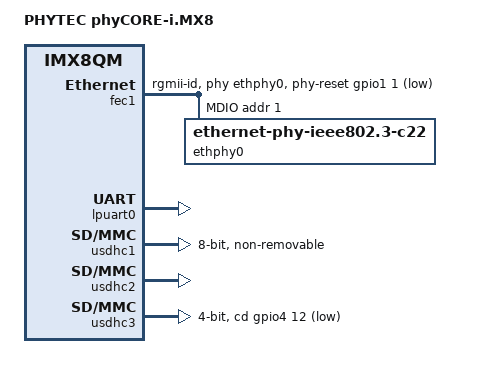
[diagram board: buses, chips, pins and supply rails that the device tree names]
/*
 * Copyright (C) 2017 PHYTEC Messtechnik GmbH,
 * Author: Christian Hemp c.hemp@phytec.de
 *
 * This program is free software; you can redistribute it and/or
 * modify it under the terms of the GNU General Public License
 * as published by the Free Software Foundation; either version 2
 * of the License, or (at your option) any later version.
 *
 * This program is distributed in the hope that it will be useful,
 * but WITHOUT ANY WARRANTY; without even the implied warranty of
 * MERCHANTABILITY or FITNESS FOR A PARTICULAR PURPOSE.  See the
 * GNU General Public License for more details.
 */

/dts-v1/;

#include "fsl-imx8qm.dtsi"
#include <dt-bindings/net/ti-dp83867.h>

/ {
	model = "PHYTEC phyCORE-i.MX8";
	compatible = "phytec,imx8qm-pcm064", "fsl,imx8qm";

	chosen {
		bootargs = "console=ttyLP0,115200 earlycon=lpuart32,0x5a060000,115200";
		stdout-path = &lpuart0;
	};
};

&fec1 {
	pinctrl-names = "default";
	pinctrl-0 = <&pinctrl_fec1>;
	phy-mode = "rgmii-id";
	phy-handle = <&ethphy0>;
	fsl,magic-packet;
	status = "okay";
	fsl,mii-exclusive;
	phy-reset-gpios = <&gpio1 1 GPIO_ACTIVE_LOW>;

	mdio@0 {
		#address-cells = <1>;
		#size-cells = <0>;

		ethphy0: ethernet-phy@1 {
			compatible = "ethernet-phy-ieee802.3-c22";
			reg = <1>;
			ti,rx-internal-delay = <DP83867_RGMIIDCTL_2_00_NS>;
			ti,tx-internal-delay = <DP83867_RGMIIDCTL_2_00_NS>;
			ti,fifo-depth = <DP83867_PHYCR_FIFO_DEPTH_8_B_NIB>;
			enet-phy-lane-no-swap;
		};
	};
};

&lpuart0 {
	pinctrl-names = "default";
	pinctrl-0 = <&pinctrl_lpuart0>;
	status = "okay";
};

&usdhc1 {
	pinctrl-names = "default", "state_100mhz", "state_200mhz";
	pinctrl-0 = <&pinctrl_usdhc1>;
	pinctrl-1 = <&pinctrl_usdhc1_100mhz>;
	pinctrl-2 = <&pinctrl_usdhc1_200mhz>;
	bus-width = <8>;
	non-removable;
	status = "okay";
};

&usdhc2 {
	pinctrl-names = "default";
	pinctrl-0 = <&pinctrl_usdhc2>;
	status = "okay";
};

&usdhc3 {
	pinctrl-names = "default", "state_100mhz", "state_200mhz";
	pinctrl-0 = <&pinctrl_usdhc3>, <&pinctrl_usdhc3_gpio>;
	pinctrl-1 = <&pinctrl_usdhc3_100mhz>, <&pinctrl_usdhc3_gpio>;
	pinctrl-2 = <&pinctrl_usdhc3_200mhz>, <&pinctrl_usdhc3_gpio>;
	bus-width = <4>;
	cd-gpios = <&gpio4 12 GPIO_ACTIVE_LOW>;
	no-1-8-v;
	status = "okay";

};

&iomuxc {
	imx8qm-pcm064 {
		pinctrl_fec1: fec1grp {
			fsl,pins = <
				SC_P_ENET0_MDC_CONN_ENET0_MDC			0x06000020
				SC_P_ENET0_MDIO_CONN_ENET0_MDIO			0x06000020
				SC_P_ENET0_RGMII_TX_CTL_CONN_ENET0_RGMII_TX_CTL	0x06000020
				SC_P_ENET0_RGMII_TXC_CONN_ENET0_RGMII_TXC	0x06000020
				SC_P_ENET0_RGMII_TXD0_CONN_ENET0_RGMII_TXD0	0x06000020
				SC_P_ENET0_RGMII_TXD1_CONN_ENET0_RGMII_TXD1	0x06000020
				SC_P_ENET0_RGMII_TXD2_CONN_ENET0_RGMII_TXD2	0x06000020
				SC_P_ENET0_RGMII_TXD3_CONN_ENET0_RGMII_TXD3	0x06000020
				SC_P_ENET0_RGMII_RXC_CONN_ENET0_RGMII_RXC	0x06000020
				SC_P_ENET0_RGMII_RX_CTL_CONN_ENET0_RGMII_RX_CTL	0x06000020
				SC_P_ENET0_RGMII_RXD0_CONN_ENET0_RGMII_RXD0	0x06000060
				SC_P_ENET0_RGMII_RXD1_CONN_ENET0_RGMII_RXD1	0x06000060
				SC_P_ENET0_RGMII_RXD2_CONN_ENET0_RGMII_RXD2	0x06000060
				SC_P_ENET0_RGMII_RXD3_CONN_ENET0_RGMII_RXD3	0x06000060
				SC_P_SCU_GPIO0_05_LSIO_GPIO1_IO01		0x00000021
			>;
		};

		pinctrl_lpuart0: lpuart0grp {
			fsl,pins = <
				SC_P_UART0_RX_DMA_UART0_RX		0x0600004c
				SC_P_UART0_TX_DMA_UART0_TX		0x0600004c
			>;
		};

		pinctrl_usdhc1: usdhc1grp {
			fsl,pins = <
				SC_P_EMMC0_CLK_CONN_EMMC0_CLK		0x06000041
				SC_P_EMMC0_CMD_CONN_EMMC0_CMD		0x00000021
				SC_P_EMMC0_DATA0_CONN_EMMC0_DATA0	0x00000021
				SC_P_EMMC0_DATA1_CONN_EMMC0_DATA1	0x00000021
				SC_P_EMMC0_DATA2_CONN_EMMC0_DATA2	0x00000021
				SC_P_EMMC0_DATA3_CONN_EMMC0_DATA3	0x00000021
				SC_P_EMMC0_DATA4_CONN_EMMC0_DATA4	0x00000021
				SC_P_EMMC0_DATA5_CONN_EMMC0_DATA5	0x00000021
				SC_P_EMMC0_DATA6_CONN_EMMC0_DATA6	0x00000021
				SC_P_EMMC0_DATA7_CONN_EMMC0_DATA7	0x00000021
				SC_P_EMMC0_STROBE_CONN_EMMC0_STROBE	0x06000041
				SC_P_EMMC0_RESET_B_CONN_EMMC0_RESET_B	0x00000021
			>;
		};

		pinctrl_usdhc1_100mhz: usdhc1grp100mhz {
			fsl,pins = <
				SC_P_EMMC0_CLK_CONN_EMMC0_CLK		0x06000040
				SC_P_EMMC0_CMD_CONN_EMMC0_CMD		0x00000020
				SC_P_EMMC0_DATA0_CONN_EMMC0_DATA0	0x00000020
				SC_P_EMMC0_DATA1_CONN_EMMC0_DATA1	0x00000020
				SC_P_EMMC0_DATA2_CONN_EMMC0_DATA2	0x00000020
				SC_P_EMMC0_DATA3_CONN_EMMC0_DATA3	0x00000020
				SC_P_EMMC0_DATA4_CONN_EMMC0_DATA4	0x00000020
				SC_P_EMMC0_DATA5_CONN_EMMC0_DATA5	0x00000020
				SC_P_EMMC0_DATA6_CONN_EMMC0_DATA6	0x00000020
				SC_P_EMMC0_DATA7_CONN_EMMC0_DATA7	0x00000020
				SC_P_EMMC0_STROBE_CONN_EMMC0_STROBE	0x06000040
				SC_P_EMMC0_RESET_B_CONN_EMMC0_RESET_B	0x00000020
			>;
		};

		pinctrl_usdhc1_200mhz: usdhc1grp200mhz {
			fsl,pins = <
				SC_P_EMMC0_CLK_CONN_EMMC0_CLK		0x06000040
				SC_P_EMMC0_CMD_CONN_EMMC0_CMD		0x00000020
				SC_P_EMMC0_DATA0_CONN_EMMC0_DATA0	0x00000020
				SC_P_EMMC0_DATA1_CONN_EMMC0_DATA1	0x00000020
				SC_P_EMMC0_DATA2_CONN_EMMC0_DATA2	0x00000020
				SC_P_EMMC0_DATA3_CONN_EMMC0_DATA3	0x00000020
				SC_P_EMMC0_DATA4_CONN_EMMC0_DATA4	0x00000020
				SC_P_EMMC0_DATA5_CONN_EMMC0_DATA5	0x00000020
				SC_P_EMMC0_DATA6_CONN_EMMC0_DATA6	0x00000020
				SC_P_EMMC0_DATA7_CONN_EMMC0_DATA7	0x00000020
				SC_P_EMMC0_STROBE_CONN_EMMC0_STROBE	0x06000040
				SC_P_EMMC0_RESET_B_CONN_EMMC0_RESET_B	0x00000020
			>;
		};

		pinctrl_usdhc2: usdhc2grp {
			fsl,pins = <
				SC_P_USDHC2_CLK_CONN_USDHC2_CLK         0x06000041
				SC_P_USDHC2_CMD_CONN_USDHC2_CMD         0x00000021
				SC_P_USDHC2_DATA0_CONN_USDHC2_DATA0     0x00000021
				SC_P_USDHC2_DATA1_CONN_USDHC2_DATA1     0x00000021
				SC_P_USDHC2_DATA2_CONN_USDHC2_DATA2     0x00000021
				SC_P_USDHC2_DATA3_CONN_USDHC2_DATA3     0x00000021
				SC_P_USDHC2_VSELECT_CONN_USDHC2_VSELECT	0x00000020
			>;
		};

		pinctrl_usdhc3: usdhc3grp {
			fsl,pins = <
				SC_P_USDHC1_CLK_CONN_USDHC1_CLK         0x06000041
				SC_P_USDHC1_CMD_CONN_USDHC1_CMD         0x00000021
				SC_P_USDHC1_DATA0_CONN_USDHC1_DATA0     0x00000021
				SC_P_USDHC1_DATA1_CONN_USDHC1_DATA1     0x00000021
				SC_P_USDHC1_DATA2_CONN_USDHC1_DATA2     0x00000021
				SC_P_USDHC1_DATA3_CONN_USDHC1_DATA3     0x00000021
				SC_P_USDHC1_VSELECT_CONN_USDHC1_VSELECT	0x00000020
			>;
		};

		pinctrl_usdhc3_gpio: usdhc3grpgpio {
			fsl,pins = <
				/* CD */
				SC_P_USDHC2_CD_B_LSIO_GPIO4_IO12        0x00000021
				SC_P_USDHC2_RESET_B_LSIO_GPIO4_IO09	0x00000021
			>;
		};

		pinctrl_usdhc3_100mhz: usdhc3grp100mhz {
			fsl,pins = <
				SC_P_USDHC2_CLK_CONN_USDHC2_CLK		0x06000040
				SC_P_USDHC2_CMD_CONN_USDHC2_CMD		0x00000020
				SC_P_USDHC2_DATA0_CONN_USDHC2_DATA0	0x00000020
				SC_P_USDHC2_DATA1_CONN_USDHC2_DATA1	0x00000020
				SC_P_USDHC2_DATA2_CONN_USDHC2_DATA2	0x00000020
				SC_P_USDHC2_DATA3_CONN_USDHC2_DATA3	0x00000020
				SC_P_USDHC2_VSELECT_CONN_USDHC2_VSELECT	0x00000020
			>;
		};

		pinctrl_usdhc3_200mhz: usdhc3grp200mhz {
			fsl,pins = <
				SC_P_USDHC2_CLK_CONN_USDHC2_CLK		0x06000040
				SC_P_USDHC2_CMD_CONN_USDHC2_CMD		0x00000020
				SC_P_USDHC2_DATA0_CONN_USDHC2_DATA0	0x00000020
				SC_P_USDHC2_DATA1_CONN_USDHC2_DATA1	0x00000020
				SC_P_USDHC2_DATA2_CONN_USDHC2_DATA2	0x00000020
				SC_P_USDHC2_DATA3_CONN_USDHC2_DATA3	0x00000020
				SC_P_USDHC2_VSELECT_CONN_USDHC2_VSELECT	0x00000020
			>;
		};

	};
};
